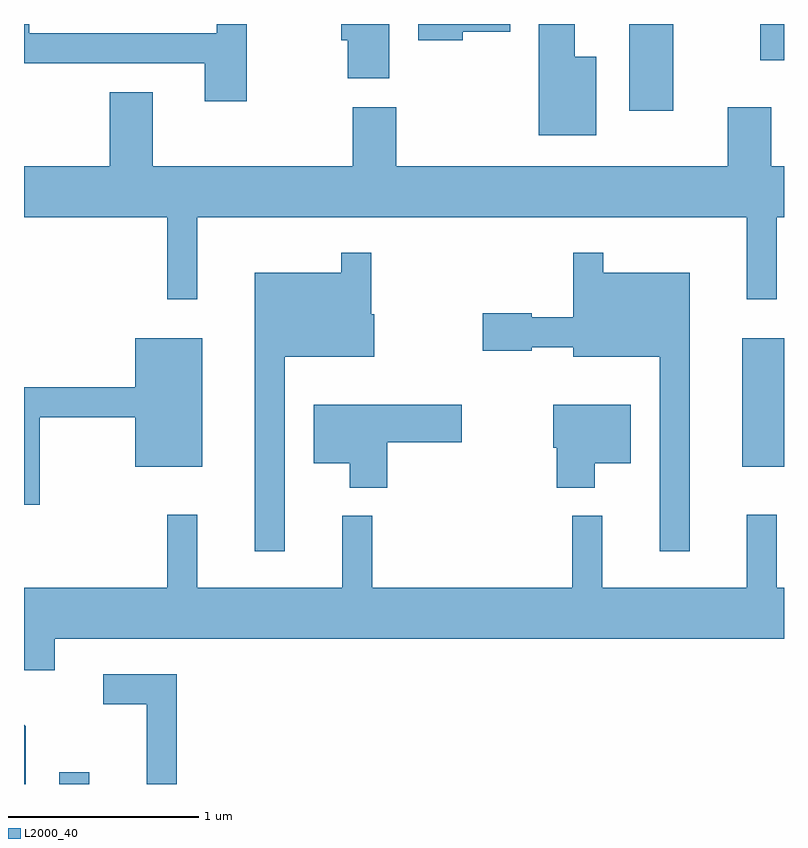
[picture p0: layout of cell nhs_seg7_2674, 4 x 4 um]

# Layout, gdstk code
import gdstk
lib = gdstk.Library(unit=1e-6, precision=1e-09)
def R(c, l, rs):  # rectangles x0, y0, x1, y1
    for r in rs: c.add(gdstk.rectangle(r[:2], r[2:], *l))
def P(c, l, *ps):  # polygons
    for p in ps: c.add(gdstk.Polygon(p, *l))
L2000_40 = (2000, 40)

nhs_seg7_2674 = lib.new_cell('nhs_seg7_2674')
R(nhs_seg7_2674, L2000_40, [(267.796,1680.252,267.954,1680.313), (271.391,1681.921,271.611,1682.599), (270.796,1683.796,271.029,1684.252), (271.486,1684.061,271.611,1684.252)])
P(nhs_seg7_2674, L2000_40, [(269.534,1684.252),(269.281,1684.252),(269.281,1684.166),(269.316,1684.166),(269.316,1683.966),(269.534,1683.966)],
  [(270.624,1684.079),(270.509,1684.079),(270.509,1684.252),(270.321,1684.252),(270.321,1683.666),(270.624,1683.666)],
  [(268.784,1684.252),(268.626,1684.252),(268.626,1684.204),(267.639,1684.204),(267.639,1684.252),(267.611,1684.252),(267.611,1684.046),(268.561,1684.046),(268.561,1683.846),(268.784,1683.846)],
  [(269.919,1684.211),(270.169,1684.211),(270.169,1684.252),(269.686,1684.252),(269.686,1684.166),(269.919,1684.166)],
  [(268.524,1683.236),(271.416,1683.236),(271.416,1682.803),(271.574,1682.803),(271.574,1683.236),(271.611,1683.236),(271.611,1683.504),(271.544,1683.504),(271.544,1683.814),(271.316,1683.814),(271.316,1683.504),(269.569,1683.504),(269.569,1683.814),(269.341,1683.814),(269.341,1683.504),(268.289,1683.504),(268.289,1683.894),(268.061,1683.894),(268.061,1683.504),(267.611,1683.504),(267.611,1683.236),(268.366,1683.236),(268.366,1682.803),(268.524,1682.803)],
  [(268.984,1682.501),(269.454,1682.501),(269.454,1682.725),(269.439,1682.725),(269.439,1683.048),(269.281,1683.048),(269.281,1682.944),(268.826,1682.944),(268.826,1681.478),(268.984,1681.478)],
  [(271.114,1682.944),(270.659,1682.944),(270.659,1683.048),(270.501,1683.048),(270.501,1682.709),(270.284,1682.709),(270.284,1682.729),(270.026,1682.729),(270.026,1682.531),(270.284,1682.531),(270.284,1682.551),(270.501,1682.551),(270.501,1682.501),(270.956,1682.501),(270.956,1681.478),(271.114,1681.478)],
  [(267.694,1682.181),(268.196,1682.181),(268.196,1681.921),(268.549,1681.921),(268.549,1682.599),(268.196,1682.599),(268.196,1682.339),(267.611,1682.339),(267.611,1681.721),(267.694,1681.721)],
  [(269.524,1682.051),(269.914,1682.051),(269.914,1682.249),(269.136,1682.249),(269.136,1681.941),(269.326,1681.941),(269.326,1681.811),(269.524,1681.811)],
  [(270.614,1681.941),(270.804,1681.941),(270.804,1682.249),(270.396,1682.249),(270.396,1682.021),(270.416,1682.021),(270.416,1681.811),(270.614,1681.811)],
  [(267.774,1681.016),(271.611,1681.016),(271.611,1681.284),(271.574,1681.284),(271.574,1681.668),(271.416,1681.668),(271.416,1681.284),(270.654,1681.284),(270.654,1681.663),(270.496,1681.663),(270.496,1681.284),(269.444,1681.284),(269.444,1681.663),(269.286,1681.663),(269.286,1681.284),(268.524,1681.284),(268.524,1681.668),(268.366,1681.668),(268.366,1681.284),(267.611,1681.284),(267.611,1680.851),(267.774,1680.851)],
  [(268.414,1680.829),(268.028,1680.829),(268.028,1680.671),(268.256,1680.671),(268.256,1680.252),(268.414,1680.252)],
  [(267.619,1680.557),(267.611,1680.565),(267.611,1680.252),(267.619,1680.252)])

lib.write_gds('nhs_seg7_2674.gds')
